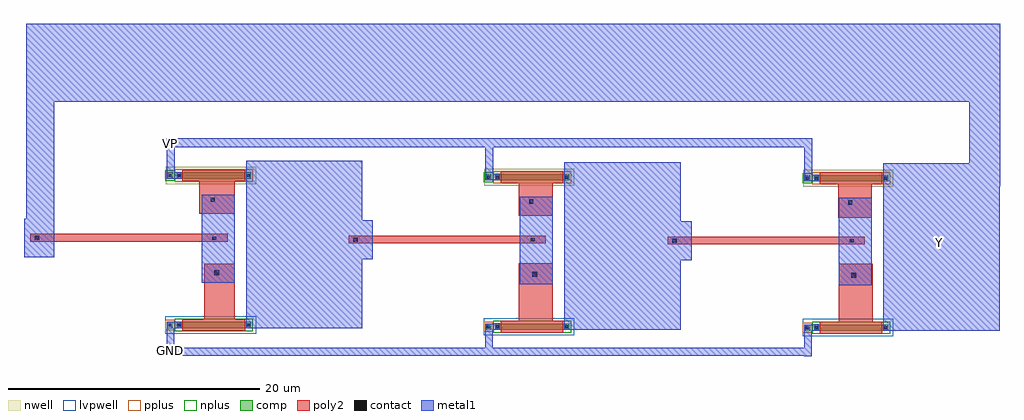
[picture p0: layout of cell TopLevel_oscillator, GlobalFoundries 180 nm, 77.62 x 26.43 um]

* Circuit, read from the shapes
.subckt TopLevel_oscillator GND VP Y
XM1 n1 Y GND GND nfet_03v3 w=0.5u l=5u
XM2 n2 n1 GND GND nfet_03v3 w=0.5u l=5u
XM3 Y n2 GND GND nfet_03v3 w=0.5u l=5u
XM4 n1 Y VP VP pfet_03v3 w=0.5u l=5u
XM5 n2 n1 VP VP pfet_03v3 w=0.5u l=5u
XM6 Y n2 VP VP pfet_03v3 w=0.5u l=5u
.ends

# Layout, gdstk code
import gdstk
lib = gdstk.Library(unit=1e-6, precision=1e-09)
def R(c, l, rs):  # rectangles x0, y0, x1, y1
    for r in rs: c.add(gdstk.rectangle(r[:2], r[2:], *l))
nwell = (21, 0)
comp = (22, 0)
poly2 = (30, 0)
pplus = (31, 0)
nplus = (32, 0)
contact = (33, 0)
metal1 = (34, 0)
lvpwell = (204, 0)

toplevel_oscillator = lib.new_cell('TopLevel_oscillator')
R(toplevel_oscillator, nwell, [(24.385,31.475,31.575,32.835), (-0.985,31.555,6.205,32.915), (-26.3,31.69,-19.11,33.05)])
R(toplevel_oscillator, comp, [(24.505,20.015,24.945,20.515), (25.265,20.015,31.145,20.515), (-0.865,20.095,-0.425,20.595), (-0.105,20.095,5.775,20.595), (-26.18,20.23,-25.74,20.73), (-25.42,20.23,-19.54,20.73), (24.505,31.905,24.945,32.405), (25.265,31.905,31.145,32.405), (-0.865,31.985,-0.425,32.485), (-0.105,31.985,5.775,32.485), (-26.18,32.12,-25.74,32.62), (-25.42,32.12,-19.54,32.62)])
R(toplevel_oscillator, poly2, [(25.705,19.795,30.705,20.735), (0.335,19.875,5.335,20.815), (-24.98,20.01,-19.98,20.95), (27.235,20.18,29.93,25.34), (1.77,20.35,4.495,25.39), (-23.23,20.44,-20.82,25.35), (13.625,26.905,29.305,27.505), (-11.745,26.985,3.935,27.585), (-37.06,27.12,-21.38,27.72), (27.19,29.02,29.865,32.405), (1.79,29.18,4.495,32.485), (-23.65,29.33,-20.82,32.43), (25.705,31.685,30.705,32.625), (0.335,31.765,5.335,32.705), (-24.98,31.9,-19.98,32.84)])
R(toplevel_oscillator, pplus, [(24.345,19.855,25.105,20.675), (-1.025,19.935,-0.265,20.755), (-26.34,20.07,-25.58,20.89), (25.105,31.675,31.305,32.635), (-0.265,31.755,5.935,32.715), (-25.58,31.89,-19.38,32.85)])
R(toplevel_oscillator, nplus, [(25.105,19.785,31.305,20.745), (-0.265,19.865,5.935,20.825), (-25.58,20,-19.38,20.96), (24.345,31.745,25.105,32.565), (-1.025,31.825,-0.265,32.645), (-26.34,31.96,-25.58,32.78)])
R(toplevel_oscillator, contact, [(24.615,20.155,24.835,20.375), (25.335,20.155,25.555,20.375), (30.855,20.155,31.075,20.375), (-0.755,20.235,-0.535,20.455), (-0.035,20.235,0.185,20.455), (5.485,20.235,5.705,20.455), (-26.07,20.37,-25.85,20.59), (-25.35,20.37,-25.13,20.59), (-19.83,20.37,-19.61,20.59), (28.235,24.225,28.625,24.635), (2.865,24.305,3.255,24.715), (-22.45,24.44,-22.06,24.85), (13.965,27.035,14.325,27.355), (28.085,27.045,28.415,27.285), (-11.405,27.115,-11.045,27.435), (2.715,27.125,3.045,27.365), (-36.72,27.25,-36.36,27.57), (-22.6,27.26,-22.27,27.5), (27.965,30.055,28.295,30.405), (2.595,30.135,2.925,30.485), (-22.72,30.27,-22.39,30.62), (24.615,32.045,24.835,32.265), (25.335,32.045,25.555,32.265), (30.855,32.045,31.075,32.265), (-0.755,32.125,-0.535,32.345), (-0.035,32.125,0.185,32.345), (5.485,32.125,5.705,32.345), (-26.07,32.26,-25.85,32.48), (-25.35,32.26,-25.13,32.48), (-19.83,32.26,-19.61,32.48)])
R(toplevel_oscillator, metal1, [(24.485,18.005,25.075,20.515), (-26.2,18.03,25.075,18.67), (-0.885,18.085,-0.295,20.595), (-26.2,18.22,-25.61,20.73), (24.465,20.005,25.635,20.515), (25.255,20.005,25.635,20.525), (30.775,20.005,31.155,20.525), (24.505,20.015,24.945,20.515), (30.775,20.015,40.025,33.345), (-0.905,20.085,0.265,20.595), (-0.115,20.085,0.265,20.605), (5.405,20.085,5.785,20.605), (-0.865,20.095,-0.425,20.595), (5.405,20.095,14.655,33.425), (-26.22,20.22,-25.05,20.73), (-25.43,20.22,-25.05,20.74), (-19.91,20.22,-19.53,20.74), (-26.18,20.23,-25.74,20.73), (-19.91,20.23,-10.66,33.56), (27.235,23.635,29.865,30.615), (1.865,23.715,4.495,30.695), (-23.45,23.85,-20.82,30.83), (13.115,25.645,15.525,28.715), (-12.255,25.725,-9.845,28.795), (-37.57,25.86,-35.16,28.93), (-37.38,25.86,-35.16,40.37), (37.59,31.51,40.05,44.43), (24.465,31.895,25.635,32.405), (25.255,31.895,25.635,32.415), (30.775,31.895,31.155,32.415), (24.465,31.905,25.115,35.105), (24.505,31.905,24.945,32.405), (-0.905,31.975,0.265,32.485), (-0.115,31.975,0.265,32.495), (5.405,31.975,5.785,32.495), (-0.905,31.985,-0.255,35.185), (-0.865,31.985,-0.425,32.485), (-26.22,32.11,-25.05,32.62), (-25.43,32.11,-25.05,32.63), (-19.91,32.11,-19.53,32.63), (-26.22,32.12,-25.57,35.32), (-26.18,32.12,-25.74,32.62), (-26.22,34.62,25.115,35.32), (-37.38,38.24,40.05,44.43)])
R(toplevel_oscillator, lvpwell, [(24.345,19.605,31.575,20.965), (-1.025,19.67,6.205,21.03), (-26.34,19.8,-19.11,21.16)])
toplevel_oscillator.add(gdstk.Label('VP', (-25.915,34.94), layer=34, texttype=10))
toplevel_oscillator.add(gdstk.Label('GND', (-25.945,18.415), layer=34, texttype=10))
toplevel_oscillator.add(gdstk.Label('Y', (35.26,27.02), layer=34, texttype=10))

lib.write_gds('TopLevel_oscillator.gds')
